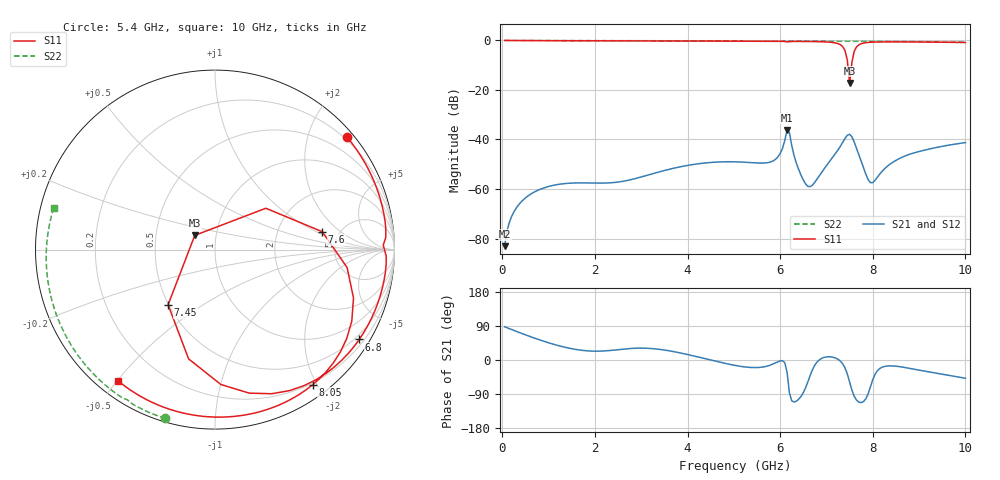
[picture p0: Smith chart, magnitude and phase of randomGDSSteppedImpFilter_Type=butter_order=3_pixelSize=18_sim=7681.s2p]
! freq	dB(S11)	phase(S11)	dB(S12)	phase(S12)
!  dB(S21)	phase(S21)	dB(S22)	phase(S22)
!S-par simulation data
#  GHz  S  DB  R 50
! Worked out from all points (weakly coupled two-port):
!   200 points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, 50 MHz to 10 GHz, reference 50 ohm
!   highest |S21| = -36.11 dB at 6.15 GHz (marker M1); lowest = -83.1 dB at 50 MHz (marker M2)
!   lowest |S11| = -17.2 dB at 7.5 GHz (marker M3), VSWR 1.32, Z = 39.4 + j6.37 ohm
!   |S11| at or under -10 dB: 7.461 GHz to 7.543 GHz (81.32 MHz wide, 1.08 % of centre)
!   |S22| runs from -0.6 to 0.0 dB; largest |S21 - S12| = 0
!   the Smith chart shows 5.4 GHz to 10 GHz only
!   S11 on the Smith chart (normalised r, x): 5.4 GHz: 0.14, +2.69; 6.8 GHz: 0.36, -3.46; 7.45 GHz: 0.50, -0.36; 7.6 GHz: 3.68, +1.16; 8.05 GHz: 0.18, -1.94; 10 GHz: 0.06, -0.50
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0.05  -0.00 -3.8  -83.09 87.6  -83.09 87.6  -0.00 -1.1
0.55  -0.05 -41.0  -62.87 64.1  -62.87 64.1  -0.01 -11.6
1.15  -0.10 -82.9  -58.33 40.0  -58.33 40.0  -0.03 -24.2
1.75  -0.13 -121.1  -57.53 25.1  -57.53 25.1  -0.05 -36.6
2.55  -0.17 -167.1  -57.06 28.0  -57.06 28.0  -0.07 -52.7
3.4  -0.21 147.1  -53.02 28.0  -53.02 28.0  -0.09 -69.3
4.25  -0.24 101.8  -49.76 7.3  -49.76 7.3  -0.12 -85.4
5.05  -0.28 59.1  -49.03 -14.8  -49.03 -14.8  -0.15 -100.0
5.4  -0.30 40.7  -49.38 -19.9  -49.38 -19.9  -0.17 -106.4
5.9  -0.33 14.7  -48.01 -7.6  -48.01 -7.6  -0.20 -115.4
6.15  -0.56 1.6  -36.11 -32.9  -36.11 -32.9  -0.27 -120.0
6.45  -0.38 -12.9  -54.37 -96.3  -54.37 -96.3  -0.24 -125.1
6.7  -0.44 -26.3  -58.40 -24.9  -58.40 -24.9  -0.26 -129.6
6.8  -0.47 -31.9  -55.89 -5.0  -55.89 -5.0  -0.26 -131.4
7.3  -1.70 -76.6  -42.75 -3.0  -42.75 -3.0  -0.31 -140.4
7.45  -7.89 -130.4  -38.30 -36.6  -38.30 -36.6  -0.32 -143.1
7.5  -17.22 144.8  -37.89 -58.0  -37.89 -58.0  -0.32 -144.0
7.6  -4.35 9.5  -41.07 -96.0  -41.07 -96.0  -0.33 -145.9
7.9  -0.79 -43.7  -56.19 -89.1  -56.19 -89.1  -0.36 -151.4
8.05  -0.64 -54.2  -56.45 -37.5  -56.45 -37.5  -0.38 -154.2
8.35  -0.57 -69.4  -50.29 -15.6  -50.29 -15.6  -0.41 -159.9
10  -0.83 -126.5  -41.25 -48.2  -41.25 -48.2  -0.65 165.7
